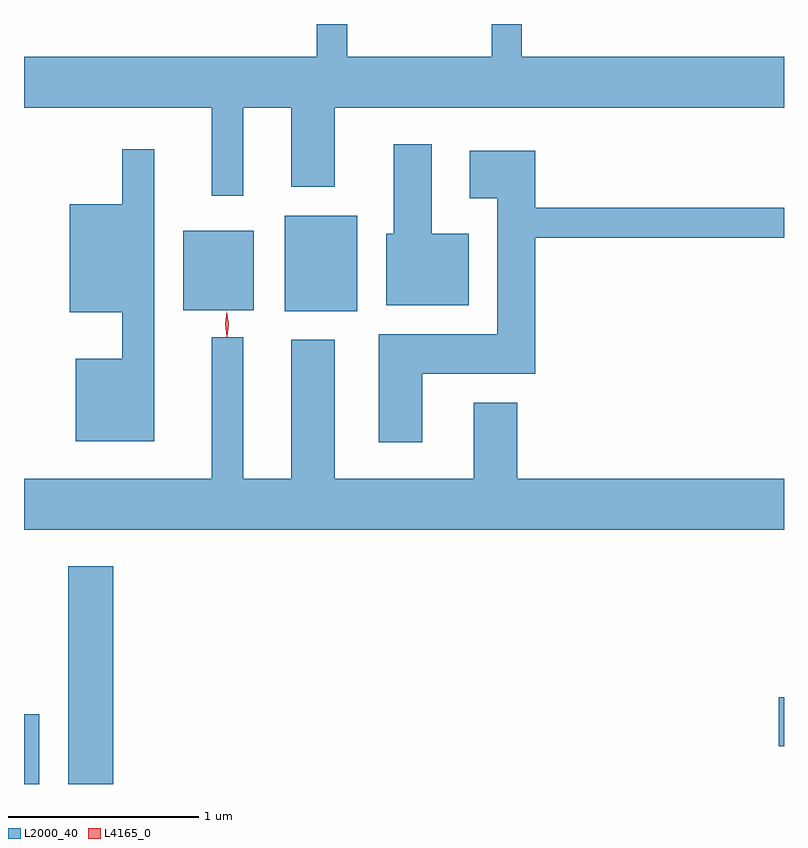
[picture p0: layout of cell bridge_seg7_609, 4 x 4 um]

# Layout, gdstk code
import gdstk
lib = gdstk.Library(unit=1e-6, precision=1e-09)
def R(c, l, rs):  # rectangles x0, y0, x1, y1
    for r in rs: c.add(gdstk.rectangle(r[:2], r[2:], *l))
def P(c, l, *ps):  # polygons
    for p in ps: c.add(gdstk.Polygon(p, *l))
L2000_40 = (2000, 40)
L4165_0 = (4165, 0)

bridge_seg7_609 = lib.new_cell('bridge_seg7_609')
R(bridge_seg7_609, L2000_40, [(818.864,1704.097,818.944,1704.463), (819.096,1704.097,819.334,1705.244), (822.836,1704.296,822.864,1704.554), (820.236,1706.586,820.619,1707.089), (819.701,1706.591,820.074,1707.009)])
P(bridge_seg7_609, L2000_40, [(820.019,1707.656),(820.271,1707.656),(820.271,1707.241),(820.499,1707.241),(820.499,1707.656),(822.864,1707.656),(822.864,1707.924),(821.484,1707.924),(821.484,1708.097),(821.326,1708.097),(821.326,1707.924),(820.564,1707.924),(820.564,1708.097),(820.406,1708.097),(820.406,1707.924),(818.864,1707.924),(818.864,1707.656),(819.851,1707.656),(819.851,1707.193),(820.019,1707.193)],
  [(821.204,1706.994),(821.009,1706.994),(821.009,1707.464),(820.811,1707.464),(820.811,1706.994),(820.771,1706.994),(820.771,1706.616),(821.204,1706.616)],
  [(819.549,1707.438),(819.381,1707.438),(819.381,1707.149),(819.106,1707.149),(819.106,1706.581),(819.381,1706.581),(819.381,1706.334),(819.136,1706.334),(819.136,1705.901),(819.549,1705.901)],
  [(820.959,1706.256),(821.554,1706.256),(821.554,1706.971),(822.864,1706.971),(822.864,1707.129),(821.554,1707.129),(821.554,1707.429),(821.211,1707.429),(821.211,1707.181),(821.356,1707.181),(821.356,1706.464),(820.731,1706.464),(820.731,1705.896),(820.959,1705.896)],
  [(822.864,1705.704),(821.459,1705.704),(821.459,1706.104),(821.231,1706.104),(821.231,1705.704),(820.499,1705.704),(820.499,1706.434),(820.271,1706.434),(820.271,1705.704),(820.019,1705.704),(820.019,1706.448),(819.851,1706.448),(819.851,1705.704),(818.864,1705.704),(818.864,1705.436),(822.864,1705.436)])
P(bridge_seg7_609, L4165_0, [(819.932,1706.45),(819.922,1706.518),(819.931,1706.586),(819.932,1706.586),(819.932,1706.586),(819.942,1706.518),(819.933,1706.45),(819.933,1706.45)],
  [(819.932,1706.453),(819.922,1706.517),(819.931,1706.581),(819.932,1706.582),(819.932,1706.581),(819.942,1706.517),(819.933,1706.453),(819.933,1706.453)])

lib.write_gds('bridge_seg7_609.gds')
